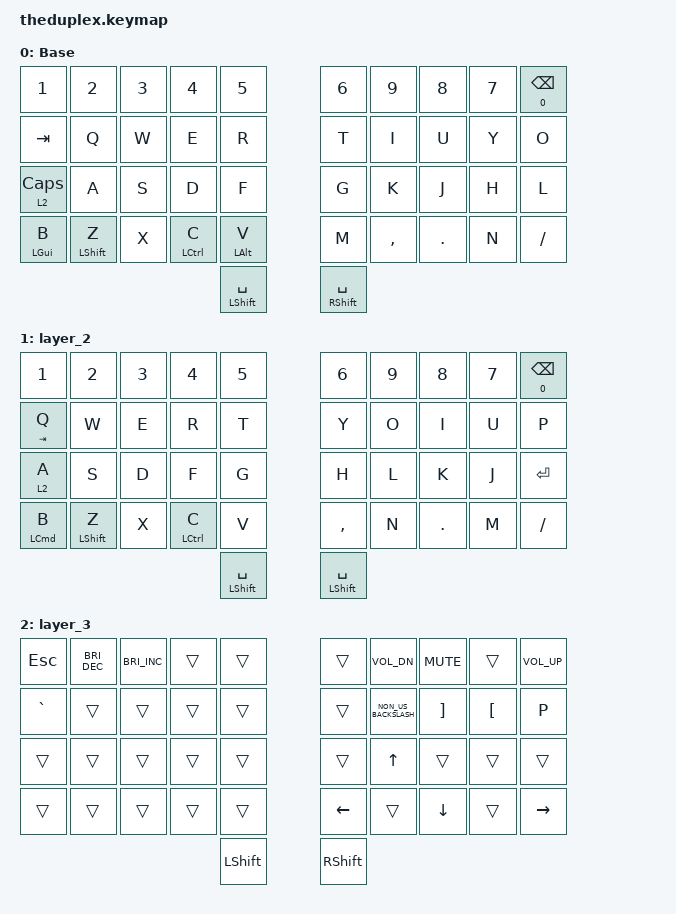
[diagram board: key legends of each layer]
#include <behaviors.dtsi>
#include <dt-bindings/zmk/keys.h>

/ {
    combos {
        compatible = "zmk,combos";

        layer0 {
            bindings = <&tog 1>;
            key-positions = <40 41>;
            layers = <1 0>;
        };
    };

    keymap {
        compatible = "zmk,keymap";

        layer1 {
            display-name = "Base";
            bindings = <
&kp NUMBER_1      &kp NUMBER_2  &kp NUMBER_3  &kp NUMBER_4    &kp N5                  &kp NUMBER_6           &kp N9      &kp N8  &kp N7  &mt N0 BACKSPACE
&kp TAB           &kp Q         &kp W         &kp E           &kp R                   &kp T                  &kp I       &kp U   &kp Y   &kp O
&lt 2 CAPS        &kp A         &kp S         &kp D           &kp F                   &kp G                  &kp K       &kp J   &kp H   &kp L
&mt LEFT_SHIFT Z  &kp X         &mt LCTRL C   &mt LEFT_ALT V  &mt LEFT_GUI B          &kp COMMA              &kp PERIOD  &kp M   &kp N   &kp SLASH
                                                              &mt LEFT_SHIFT SPACE    &mt RIGHT_SHIFT SPACE
            >;
        };

        layer_2 {
            bindings = <
&kp NUMBER_1      &kp NUMBER_2  &kp NUMBER_3  &kp NUMBER_4  &kp N5                  &kp NUMBER_6          &kp N9      &kp N8     &kp N7  &mt N0 BACKSPACE
&mt TAB Q         &kp W         &kp E         &kp R         &kp T                   &kp Y                 &kp O       &kp I      &kp U   &kp P
&lt 2 A           &kp S         &kp D         &kp F         &kp G                   &kp H                 &kp L       &kp K      &kp J   &kp ENTER
&mt LEFT_SHIFT Z  &kp X         &mt LCTRL C   &kp V         &mt LCMD B              &kp N                 &kp PERIOD  &kp COMMA  &kp M   &kp SLASH
                                                            &mt LEFT_SHIFT SPACE    &mt LEFT_SHIFT SPACE
            >;
        };

        layer_3 {
            bindings = <
&kp ESCAPE  &kp C_BRIGHTNESS_DEC  &kp C_BRIGHTNESS_INC  &trans  &trans            &trans           &kp C_VOL_DN          &kp C_MUTE         &trans            &kp C_VOLUME_UP
&kp GRAVE   &trans                &trans                &trans  &trans            &trans           &kp NON_US_BACKSLASH  &kp RIGHT_BRACKET  &kp LEFT_BRACKET  &kp P
&trans      &trans                &trans                &trans  &trans            &trans           &kp UP_ARROW          &trans             &trans            &trans
&trans      &trans                &trans                &trans  &trans            &trans           &kp DOWN              &kp LEFT           &trans            &kp RIGHT
                                                                &kp LEFT_SHIFT    &kp RIGHT_SHIFT
            >;
        };
    };
};
